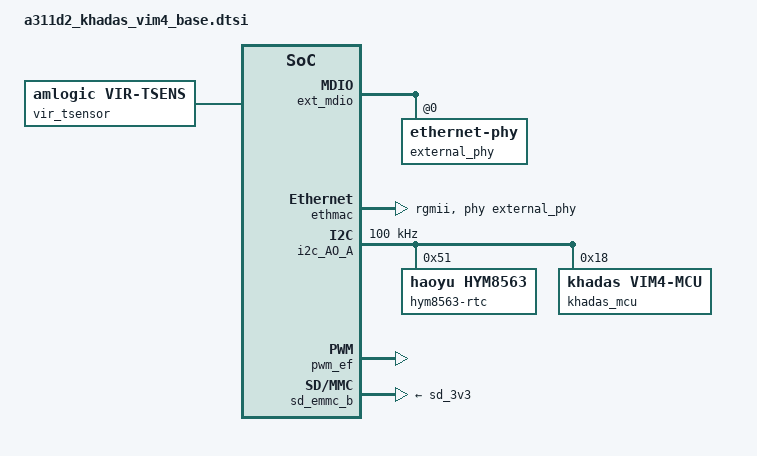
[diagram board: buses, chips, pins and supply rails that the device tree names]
/ {
	memory@0 {
		device_type = "memory";
		linux,usable-memory = <0x00000000 0x00000000 0x00000000 0xE0000000
		                       0x00000001 0x00000000 0x00000000 0xE0000000
		                       0x00000002 0x00000000 0x00000000 0x40000000>;
	};

	gpioleds {
		sys_led {
			gpios = <&gpio GPIOD_6 GPIO_ACTIVE_HIGH>;
		};
	};

	gpio_keypad {
		key-gpios = <&gpio GPIOD_4 GPIO_ACTIVE_HIGH>;
	};

	vir_tsensor: vir_tsensor {
		compatible = "amlogic, vir-tsens";
		zone-name = "soc_thermal";
		num-vtsens = <1>;
		#thermal-sensor-cells = <1>;
	};
};

&ext_mdio {
	external_phy: ethernet-phy@0 {
		max-speed = <1000>;
	};
};

&ethmac {
	pinctrl-0 = <&eth_pins>, <&eth_rgmii_pins>;
	pinctrl-names = "default";
	status = "okay";
	phy-mode = "rgmii";
	phy-handle = <&external_phy>;
	mc_val = <0x1621>;
	amlogic,tx-delay-ns = <2>;
};

&i2c_AO_A {
	status = "okay";
	pinctrl-names = "default";
	pinctrl-0 = <&i2c0_ao_pins1>;
	clock-frequency = <100000>; /* default 100k */

	hym8563-rtc@51 {
		compatible = "haoyu,hym8563";
		reg = <0x51>;
	};

	khadas_mcu: khadas-mcu@18 {
		compatible = "khadas,vim4-mcu";
		reg = <0x18>;
		#cooling-cells = <2>;
	};
};

&pwm_ef {
	status = "okay";
	pinctrl-names = "default";
	pinctrl-0 = <&pwm_f_pins>;
};

&sd_emmc_b {
	use_intf3_tuning;

	vmmc-supply = <&sd_3v3>;
	vqmmc-supply = <&vddio_c>;
};

&u2p0port0 {
	gpio-vbus-power = "GPIOY_5";
	gpios = <&gpio GPIOY_5 GPIO_ACTIVE_HIGH>;
};

&u2p1port0 {
	/delete-property/ gpio-vbus-power;
	/delete-property/ gpios;
};

&amhdmitx {
	vend_data {
		vendor_name = "Khadas";
	};
};

&{/thermal-zones} {
	fan_thermal: fan_thermal {
		polling-delay = <1000>;
		polling-delay-passive = <100>;
		thermal-sensors = <&vir_tsensor 0>;

		trips {
			fan_trip0: fan-trip0 {
				temperature = <50000>;
				hysteresis = <2000>;
				type = "active";
			};

			fan_trip1: fan-trip1 {
				temperature = <60000>;
				hysteresis = <2000>;
				type = "active";
			};

			fan_trip2: fan-trip2 {
				temperature = <70000>;
				hysteresis = <2000>;
				type = "active";
			};
		};

		cooling-maps {
			fan_cooling_map0 {
				trip = <&fan_trip0>;
				cooling-device = <&khadas_mcu 3 3>;
			};

			fan_cooling_map1 {
				trip = <&fan_trip1>;
				cooling-device = <&khadas_mcu 4 4>;
			};

			fan_cooling_map2 {
				trip = <&fan_trip2>;
				cooling-device = <&khadas_mcu 5 5>;
			};
		};
	};
};
